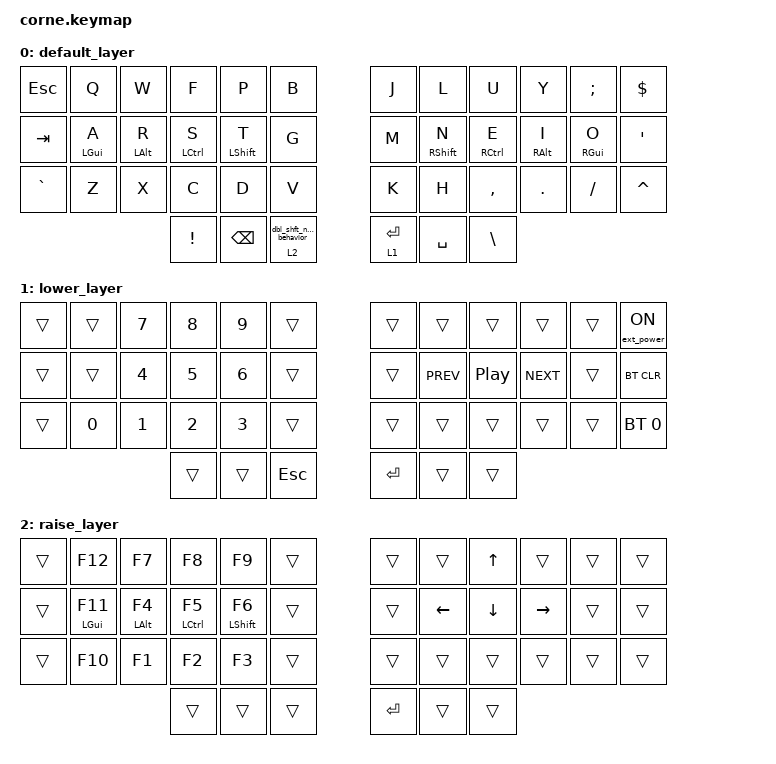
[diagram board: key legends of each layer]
#include <behaviors.dtsi>
#include <dt-bindings/zmk/bt.h>
#include <dt-bindings/zmk/ext_power.h>
#include <dt-bindings/zmk/keys.h>

/*                KEY POSITIONS
             0   1   2   3   4   5      6   7   8   9   10  11
             12  13  14  15  16  17     18  19  20  21  22  23
             24  25  26  27  28  29     30  31  32  33  34  35
                         36  37  38     39  40  41            */
/* Key Position Groups */

#define KEYS_L 0 1 2 3 4 5 12 13 14 15 16 17 24 25 26 27 28 29  // left-hand keys
#define KEYS_R 6 7 8 9 10 11 18 19 20 21 22 23 30 31 32 33 34 35 // right-hand keys
#define THUMBS 36 37 38 39 40 41                      // thumb keys

// Keymap configuration (Colemak-DHm)

/ {
    behaviors {
        mtl: mod_tap_left {
            compatible = "zmk,behavior-hold-tap";
            label = "MOD_TAP_LEFT";
            #binding-cells = <2>;
            flavor = "balanced";
            tapping-term-ms = <280>;
            quick-tap-ms = <175>;
            bindings = <&kp>, <&kp>;

            hold-trigger-key-positions = <KEYS_R THUMBS>;
            hold-trigger-on-release;
            require-prior-idle-ms = <150>;
        };

        mtr: mod_tap_right {
            compatible = "zmk,behavior-hold-tap";
            label = "MOD_TAP_RIGHT";
            #binding-cells = <2>;
            flavor = "balanced";
            tapping-term-ms = <280>;
            quick-tap-ms = <175>;
            bindings = <&kp>, <&kp>;

            hold-trigger-key-positions = <KEYS_L THUMBS>;
            hold-trigger-on-release;
            require-prior-idle-ms = <150>;
        };

        mtl_mo: mod_tap_left_mo {
            compatible = "zmk,behavior-hold-tap";
            label = "MOD_TAP_LEFT_MO";
            #binding-cells = <2>;
            flavor = "hold-preferred";
            tapping-term-ms = <200>;
            quick-tap-ms = <140>;
            bindings = <&mo>, <&dbl_shft_new_behavior>;

            hold-trigger-key-positions = <THUMBS>;
            hold-trigger-on-release;
            require-prior-idle-ms = <150>;
        };

        mtr_mo: mod_tap_right_mo {
            compatible = "zmk,behavior-hold-tap";
            label = "MOD_TAP_RIGHT_MO";
            #binding-cells = <2>;
            flavor = "balanced";
            tapping-term-ms = <280>;
            quick-tap-ms = <175>;
            bindings = <&mo>, <&kp>;

            hold-trigger-key-positions = <THUMBS>;
            hold-trigger-on-release;
            require-prior-idle-ms = <150>;
        };

        tpd_grave: tpd_grave {
            compatible = "zmk,behavior-tap-dance";
            label = "TPD_GRAVE";
            #binding-cells = <0>;
            bindings = <&kp GRAVE>, <&kp LC(GRAVE)>;
        };

        dbl_shft_new_behavior: dbl_shft_new_behavior {
            compatible = "zmk,behavior-tap-dance";
            label = "DBL_SHFT_NEW_BEHAVIOR";
            #binding-cells = <0>;
            bindings = <&kp LS(LEFT_SHIFT)>;
            tapping-term-ms = <180>;
        };
    };

    combos {
        compatible = "zmk,combos";

        copy {
            bindings = <&kp LG(C)>;
            key-positions = <27 26>;
            require-prior-idle-ms = <150>;
            layers = <0>;
        };

        paste {
            bindings = <&kp LG(V)>;
            key-positions = <28 27>;
        };

        left_square_braces {
            bindings = <&kp LEFT_BRACKET>;
            key-positions = <31 32>;
        };

        right_square_brace {
            bindings = <&kp RIGHT_BRACKET>;
            key-positions = <32 33>;
        };

        left_parent {
            bindings = <&kp LEFT_PARENTHESIS>;
            key-positions = <19 20>;
        };

        right_parent {
            bindings = <&kp RIGHT_PARENTHESIS>;
            key-positions = <20 21>;
        };

        plus {
            bindings = <&kp EQUAL>;
            key-positions = <7 8>;
        };

        minus {
            bindings = <&kp MINUS>;
            key-positions = <8 9>;
        };

        left_crutly_brace {
            bindings = <&kp LEFT_BRACE>;
            key-positions = <14 15>;
        };

        right_curly_brace {
            bindings = <&kp RIGHT_BRACE>;
            key-positions = <16 15>;
        };

        at {
            bindings = <&kp AT_SIGN>;
            key-positions = <13 14>;
        };

        percent {
            bindings = <&kp PERCENT>;
            key-positions = <4 5>;
        };

        underscore {
            bindings = <&kp UNDER>;
            key-positions = <17 16>;
        };

        times {
            bindings = <&kp ASTERISK>;
            key-positions = <28 29>;
        };

        tilda {
            bindings = <&kp TILDE>;
            key-positions = <24 25>;
        };

        hash {
            bindings = <&kp HASH>;
            key-positions = <3 4>;
        };

        undo {
            bindings = <&kp LG(Z)>;
            key-positions = <25 26>;
        };

        choose_ide_left {
            bindings = <&kp LS(LG(LEFT_ARROW))>;
            key-positions = <16 38>;
        };

        choose_ide_right {
            bindings = <&kp RS(RG(RIGHT))>;
            key-positions = <39 19>;
        };

        tab_left {
            bindings = <&kp LG(LA(LEFT_ARROW))>;
            key-positions = <38 17>;
        };

        tab_right {
            bindings = <&kp RG(RA(RIGHT_ARROW))>;
            key-positions = <39 18>;
        };

        double_shift_ide {
            bindings = <&kp AMPERSAND>;
            key-positions = <16 19>;
        };

        pipe {
            bindings = <&kp PIPE>;
            key-positions = <15 20>;
        };

        semicolon {
            bindings = <&kp SEMICOLON>;
            key-positions = <21 22>;
        };

        right_workspace {
            bindings = <&kp RC(RIGHT_ARROW)>;
            key-positions = <39 20>;
        };

        left_workspace {
            bindings = <&kp LC(LEFT_ARROW)>;
            key-positions = <38 15>;
        };
    };

    macros {
        Trial: Trial {
            compatible = "zmk,behavior-macro";
            #binding-cells = <0>;
            bindings = <&none>;
            label = "TRIAL";
        };
    };

    keymap {
        compatible = "zmk,keymap";

        default_layer {
            // -----------------------------------------------------------------------------------------------------------------------------------------------------------------------------------------------
            // | ESC          |  Q           | W          |  F          |  P             |  B               | # |  J           |  L             |  U          |  Y          |  ;           |  play/pauyse    |
            // | TAB          |  CTRL / A    | ALT / R    |  GUI / S    |  SHIFT / T     |  G               | # |  M           |  SHIFT / N     |  GUI  / E   |  ALT / I    |  CTRL / O    |  '              |
            // | Prev         |  Z           |  X         |  C          |  D             |  V               | # |  K           |  H             |  ,          |  .          |  /           |  Next           |
            //                                            |  `          |  BKSP          |  RSA / LGUI      | # |  LWR / ENT   |  SPC           |             |

            bindings = <
&kp ESC    &kp Q            &kp W        &kp F                &kp P          &kp B          &kp J            &kp L          &kp U                 &kp Y        &kp SEMI          &kp DOLLAR
&kp TAB    &mtl LEFT_GUI A  &mtl LALT R  &mtl LEFT_CONTROL S  &mtl LSHFT T   &kp G          &kp M            &mtr RSHIFT N  &mtr RIGHT_CONTROL E  &mtr RALT I  &mtr RIGHT_GUI O  &kp SQT
&kp GRAVE  &kp Z            &kp X        &kp C                &kp D          &kp V          &kp K            &kp H          &kp COMMA             &kp DOT      &kp FSLH          &kp CARET
                                         &kp EXCLAMATION      &kp BACKSPACE  &mtl_mo 2 0    &mtr_mo 1 ENTER  &kp SPACE      &kp BSLH
            >;
        };

        lower_layer {
            // ----------------------------------------------------------------------------------------------------
            // |  F1  |  F2  |  F3  |  F4   |  F5  |  {    | # |  }  |  -   |  =  |     |       |  EP_ON   |
            // |  F6  |  F7  |  F8  |  F9   |  F10 |  ()   | # | ()  |      |     |     |       |  BTCLR   |
            // |      |      |      |       |      |  {}   | # | []  |      |     |     |       |  BT1     |
            //                      |       |      | ESC   | # | ENT |      |     |

            bindings = <
&trans  &trans  &kp N7  &kp N8  &kp N9  &trans     &trans     &trans      &trans            &trans      &trans  &ext_power EP_ON
&trans  &trans  &kp N4  &kp N5  &kp N6  &trans     &trans     &kp C_PREV  &kp C_PLAY_PAUSE  &kp C_NEXT  &trans  &bt BT_CLR
&trans  &kp N0  &kp N1  &kp N2  &kp N3  &trans     &trans     &trans      &trans            &trans      &trans  &bt BT_SEL 0
                        &trans  &trans  &kp ESC    &kp ENTER  &trans      &trans
            >;
        };

        raise_layer {
            // -----------------------------------------------------------------------------------------
            // |    |  1  |  2  |  3  |  4  |  5  | # |  6    |  7   |  8   |  9    |   0    |      |
            // |    |     |     |     |     | TAB | # |       | LFT  | DOWN |  UP   |  RIGHT |      |
            // |    |  `  |     |     |     |     | # |  :    |   '  |  ?   |   \   |        |      |
            //                  |     |     |     | # | ENTER |      |      |

            bindings = <
&trans  &kp F12            &kp F7            &kp F8         &kp F9              &trans    &trans     &trans    &kp UP_ARROW  &trans     &trans  &trans
&trans  &mtl LEFT_GUI F11  &mtl LEFT_ALT F4  &mtl LCTRL F5  &mtl LEFT_SHIFT F6  &trans    &trans     &kp LEFT  &kp DOWN      &kp RIGHT  &trans  &trans
&trans  &kp F10            &kp F1            &kp F2         &kp F3              &trans    &trans     &trans    &trans        &trans     &trans  &trans
                                             &trans         &trans              &trans    &kp ENTER  &trans    &trans
            >;
        };
    };
};
